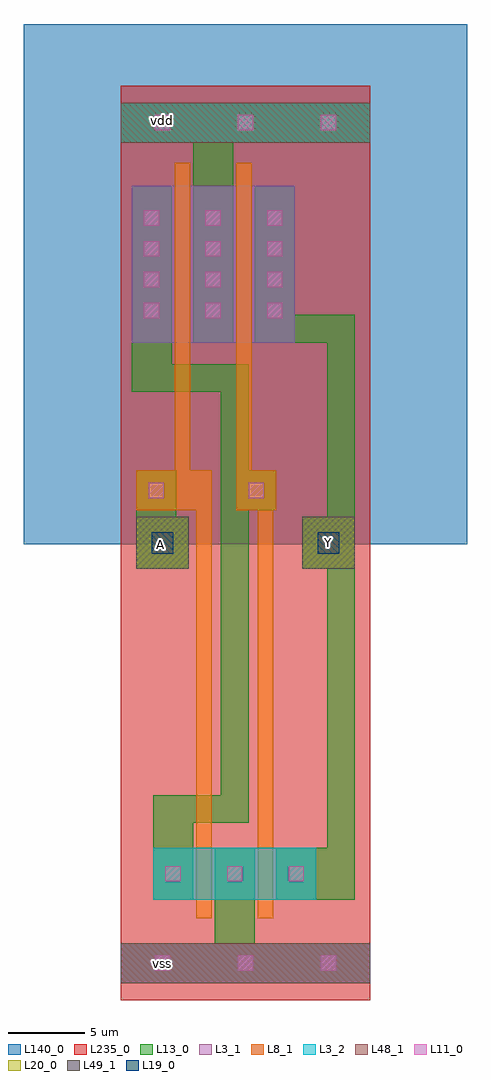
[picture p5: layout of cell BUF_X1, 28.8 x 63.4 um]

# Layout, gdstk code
import gdstk
lib = gdstk.Library(unit=1e-6, precision=1e-09)
def R(c, l, rs):  # rectangles x0, y0, x1, y1
    for r in rs: c.add(gdstk.rectangle(r[:2], r[2:], *l))
def A(c, l, x, y, w, h, nx, ny, dx, dy):  # array of equal rectangles
    R(c, l, [(x+i*dx, y+j*dy, x+i*dx+w, y+j*dy+h) for i in range(nx) for j in range(ny)])
def P(c, l, *ps):  # polygons
    for p in ps: c.add(gdstk.Polygon(p, *l))
L3_1 = (3, 1)
L3_2 = (3, 2)
L8_1 = (8, 1)
L11_0 = (11, 0)
L13_0 = (13, 0)
L19_0 = (19, 0)
L20_0 = (20, 0)
L48_1 = (48, 1)
L49_1 = (49, 1)
L140_0 = (140, 0)
L235_0 = (235, 0)

buf_x1 = lib.new_cell('BUF_X1')
R(buf_x1, L3_1, [(0,1.1,16.2,3.7), (0.7,42.7,7.3,52.9), (4.7,42.7,11.3,52.9)])
R(buf_x1, L3_2, [(2.1,6.5,8.7,9.9), (6.1,6.5,12.7,9.9), (0,55.7,16.2,58.3)])
R(buf_x1, L8_1, [(7.5,31.8,10.1,34.4)])
P(buf_x1, L8_1, [(8.9,5.3),(8.9,11.2),(8.9,31.8),(7.5,31.8),(7.5,36.5),(7.5,54.4),(8.5,54.4),(8.5,34.4),(9.9,34.4),(9.9,12.2),(9.9,5.3)],
  [(4.9,5.3),(4.9,11.2),(4.9,31.8),(1,31.8),(1,34.4),(3.5,34.4),(3.5,54.4),(4.5,54.4),(4.5,34.4),(5.9,34.4),(5.9,12.2),(5.9,5.3)])
A(buf_x1, L11_0, 1.5, 44.3, 1, 1, 1, 4, 0, 2)
A(buf_x1, L11_0, 9.5, 44.3, 1, 1, 1, 4, 0, 2)
R(buf_x1, L11_0, [(2.2,1.9,3.2,2.9), (7.6,1.9,8.6,2.9), (7.6,1.9,8.6,2.9), (13,1.9,14,2.9), (2.9,7.7,3.9,8.7), (6.9,7.7,7.9,8.7), (6.9,7.7,7.9,8.7), (10.9,7.7,11.9,8.7), (1.8,32.6,2.8,33.6), (8.3,32.6,9.3,33.6), (5.5,44.3,6.5,45.3), (5.5,44.3,6.5,45.3), (5.5,46.3,6.5,47.3), (5.5,46.3,6.5,47.3), (5.5,48.3,6.5,49.3), (5.5,48.3,6.5,49.3), (5.5,50.3,6.5,51.3), (5.5,50.3,6.5,51.3), (2.2,56.5,3.2,57.5), (2.2,56.5,3.2,57.5), (7.6,56.5,8.6,57.5), (7.6,56.5,8.6,57.5), (7.6,56.5,8.6,57.5), (7.6,56.5,8.6,57.5), (13,56.5,14,57.5)])
R(buf_x1, L13_0, [(0,1.1,16.2,3.7), (6.1,3.7,8.7,9.9), (7.5,31.8,10.1,34.4), (4.7,42.7,7.3,55.7), (0,55.7,16.2,58.3)])
P(buf_x1, L13_0, [(1,28),(1,34.4),(3.6,34.4),(3.6,31.4),(4.4,31.4),(4.4,28)],
  [(2.1,6.5),(2.1,13.3),(6.5,13.3),(6.5,39.5),(0.7,39.5),(0.7,52.9),(3.3,52.9),(3.3,41.3),(8.3,41.3),(8.3,11.5),(4.7,11.5),(4.7,6.5)],
  [(10.1,6.5),(10.1,9.9),(13.4,9.9),(13.4,28),(11.8,28),(11.8,31.4),(13.4,31.4),(13.4,42.7),(8.7,42.7),(8.7,52.9),(11.3,52.9),(11.3,44.5),(15.2,44.5),(15.2,6.5)])
R(buf_x1, L19_0, [(2,29,3.4,30.4), (12.8,29,14.2,30.4)])
R(buf_x1, L20_0, [(1,28,4.4,31.4), (11.8,28,15.2,31.4)])
R(buf_x1, L48_1, [(0,1.1,16.2,3.7), (0,55.7,16.2,58.3)])
R(buf_x1, L49_1, [(1,28,4.4,31.4), (11.8,28,15.2,31.4)])
R(buf_x1, L140_0, [(-6.3,29.6,22.5,63.4)])
R(buf_x1, L235_0, [(0,0,16.2,59.4)])
buf_x1.add(gdstk.Label('A', (2.6,29.6), layer=49, texttype=0))
buf_x1.add(gdstk.Label('Y', (13.5,29.7), layer=49, texttype=0))
buf_x1.add(gdstk.Label('vss', (2.7,2.4), layer=48, texttype=0))
buf_x1.add(gdstk.Label('vdd', (2.7,57.1), layer=48, texttype=0))

lib.write_gds('BUF_X1.gds')
